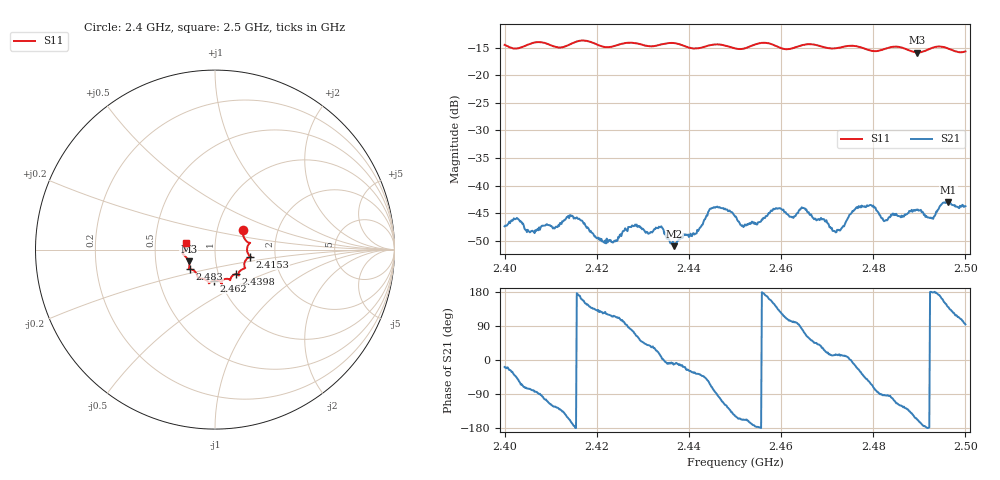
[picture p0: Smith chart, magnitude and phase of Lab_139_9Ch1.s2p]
# Hz S RI R 50
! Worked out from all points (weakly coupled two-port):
!   601 points, 2.4 GHz to 2.5 GHz, reference 50 ohm
!   highest |S21| = -42.95 dB at 2.4963 GHz (marker M1); lowest = -50.9 dB at 2.4368 GHz (marker M2)
!   lowest |S11| = -15.9 dB at 2.4895 GHz (marker M3), VSWR 1.38, Z = 36.9 - j5 ohm
!   |S11| at or under -10 dB: start of sweep to end of sweep
!   S12 and S22 are empty: the file has one direction only
!   S11 on the Smith chart (normalised r, x): 2.4 GHz: 1.33, +0.29; 2.4153 GHz: 1.48, -0.12; 2.4398 GHz: 1.21, -0.34; 2.462 GHz: 0.93, -0.33; 2.483 GHz: 0.74, -0.17; 2.5 GHz: 0.72, +0.06
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2.4e9  0.1553 0.1068  0.00407 -0.00136  0 0  0 0
2.406e9  0.1919 0.0379  0.000685 -0.00385  0 0  0 0
2.415333e9  0.1961 -0.0385  -0.00505 -7.3e-05  0 0  0 0
2.416667e9  0.2018 -0.0425  -0.00457 0.00161  0 0  0 0
2.4215e9  0.1712 -0.0585  -0.00178 0.00256  0 0  0 0
2.433333e9  0.1312 -0.1336  0.00386 0.00146  0 0  0 0
2.436833e9  0.1324 -0.1438  0.00278 -0.000546  0 0  0 0
2.439833e9  0.1156 -0.1366  0.00325 -0.00158  0 0  0 0
2.445e9  0.0846 -0.1687  0.00201 -0.00596  0 0  0 0
2.45e9  0.0644 -0.1628  -0.00445 -0.00282  0 0  0 0
2.452e9  0.0439 -0.1691  -0.00401 -0.00163  0 0  0 0
2.458833e9  0.032 -0.1817  -0.00492 0.00387  0 0  0 0
2.462e9  -0.00507 -0.1732  -0.00122 0.0051  0 0  0 0
2.466667e9  -0.0342 -0.1876  0.00328 0.00417  0 0  0 0
2.471667e9  -0.066 -0.1621  0.00378 0.000879  0 0  0 0
2.477e9  -0.096 -0.1529  0.00564 -0.00298  0 0  0 0
2.483e9  -0.1377 -0.1097  -0.00028 -0.00485  0 0  0 0
2.483333e9  -0.1401 -0.1094  -0.000411 -0.00513  0 0  0 0
2.4895e9  -0.1463 -0.0659  -0.00552 -0.00238  0 0  0 0
2.492667e9  -0.1737 -0.0297  -0.00507 6.76e-05  0 0  0 0
2.496333e9  -0.1741 -0.0127  -0.0054 0.00464  0 0  0 0
2.5e9  -0.1596 0.0393  -0.000437 0.00651  0 0  0 0
